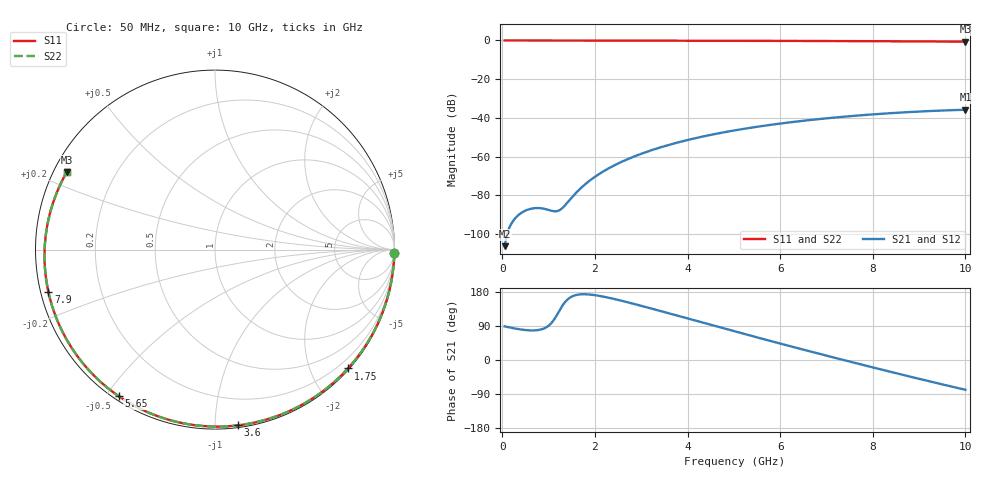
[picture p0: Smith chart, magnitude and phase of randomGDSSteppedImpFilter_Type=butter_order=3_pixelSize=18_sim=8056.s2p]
! freq	dB(S11)	phase(S11)	dB(S12)	phase(S12)
!  dB(S21)	phase(S21)	dB(S22)	phase(S22)
!S-par simulation data
#  GHz  S  DB  R 50
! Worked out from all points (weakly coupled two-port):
!   200 points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, 50 MHz to 10 GHz, reference 50 ohm
!   highest |S21| = -35.78 dB at 10 GHz (marker M1); lowest = -106.2 dB at 50 MHz (marker M2)
!   lowest |S11| = -0.6 dB at 10 GHz (marker M3), VSWR 28.40, Z = 1.87 + j12.2 ohm
!   |S11| at or under -10 dB: nowhere
!   |S22| runs from -0.6 to 0.0 dB; largest |S21 - S12| = 0
!   S11 on the Smith chart (normalised r, x): 50 MHz: 1, -96; 1.75 GHz: 0.02, -2.62; 3.6 GHz: 0.01, -1.14; 5.65 GHz: 0.01, -0.54; 7.9 GHz: 0.02, -0.13; 10 GHz: 0.04, +0.24
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0.05  -0.00 -1.2  -106.22 88.7  -106.22 88.7  -0.00 -1.2
0.4  -0.02 -9.7  -89.19 80.6  -89.19 80.6  -0.02 -9.7
0.75  -0.02 -18.2  -86.53 78.7  -86.53 78.7  -0.02 -18.1
1.5  -0.05 -36.0  -81.09 167.3  -81.09 167.3  -0.05 -35.9
1.55  -0.05 -37.1  -79.76 169.9  -79.76 169.9  -0.05 -37.1
1.75  -0.05 -41.8  -75.07 173.6  -75.07 173.6  -0.05 -41.7
2.05  -0.06 -48.7  -69.60 170.2  -69.60 170.2  -0.06 -48.6
2.45  -0.07 -57.7  -64.12 160.1  -64.12 160.1  -0.07 -57.7
2.9  -0.09 -67.6  -59.42 146.2  -59.42 146.2  -0.09 -67.6
3.4  -0.10 -78.4  -55.32 129.8  -55.32 129.8  -0.10 -78.3
3.6  -0.11 -82.6  -53.91 123.1  -53.91 123.1  -0.11 -82.5
4.3  -0.14 -97.0  -49.76 99.6  -49.76 99.6  -0.14 -96.9
5.05  -0.17 -111.8  -46.30 74.6  -46.30 74.6  -0.17 -111.8
5.65  -0.20 -123.4  -44.05 54.8  -44.05 54.8  -0.20 -123.3
6.2  -0.24 -133.8  -42.31 37.0  -42.31 37.0  -0.24 -133.7
6.7  -0.27 -143.1  -40.94 21.0  -40.94 21.0  -0.27 -143.1
7.3  -0.32 -154.3  -39.54 2.1  -39.54 2.1  -0.32 -154.3
7.9  -0.37 -165.6  -38.35 -16.5  -38.35 -16.5  -0.37 -165.6
8.35  -0.42 -174.2  -37.60 -30.2  -37.60 -30.2  -0.42 -174.2
8.8  -0.47 177.0  -36.96 -43.7  -36.96 -43.7  -0.47 177.0
9.2  -0.51 169.1  -36.48 -55.6  -36.48 -55.6  -0.52 169.0
10  -0.61 152.5  -35.78 -78.6  -35.78 -78.6  -0.61 152.4
